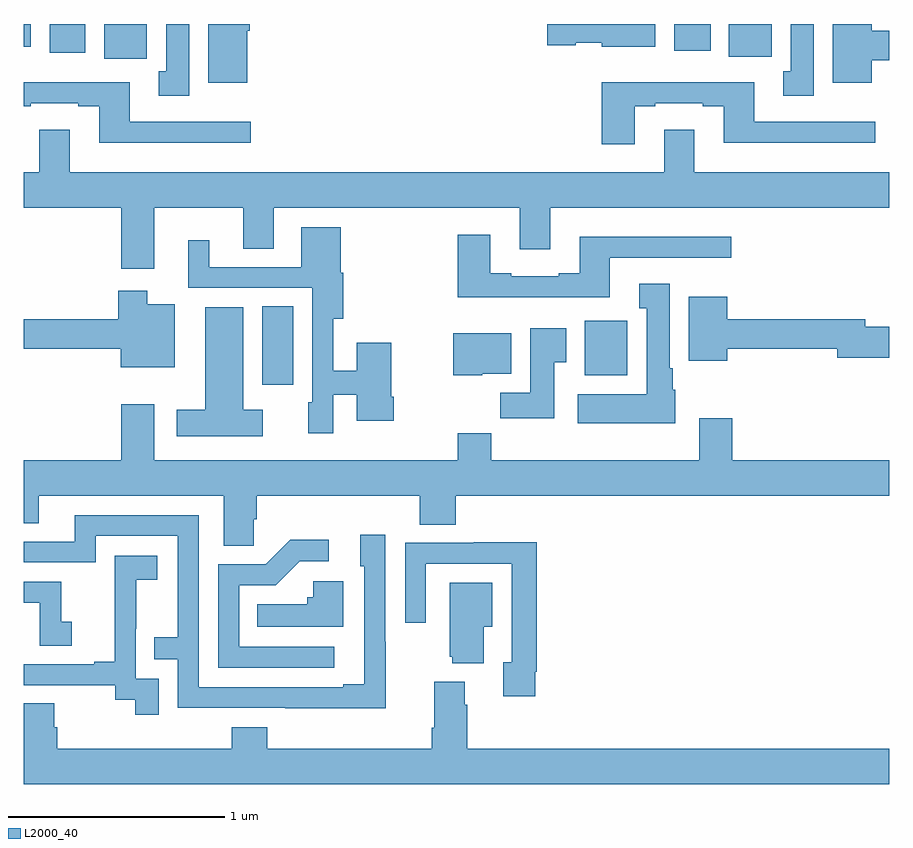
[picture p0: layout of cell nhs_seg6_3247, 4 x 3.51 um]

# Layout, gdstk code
import gdstk
lib = gdstk.Library(unit=1e-6, precision=1e-09)
def R(c, l, rs):  # rectangles x0, y0, x1, y1
    for r in rs: c.add(gdstk.rectangle(r[:2], r[2:], *l))
def P(c, l, *ps):  # polygons
    for p in ps: c.add(gdstk.Polygon(p, *l))
L2000_40 = (2000, 40)

nhs_seg6_3247 = lib.new_cell('nhs_seg6_3247')
R(nhs_seg6_3247, L2000_40, [(302.102,963.834,302.245,964.196), (303.593,963.878,303.789,964.129), (301.373,965.34,301.569,965.5), (304.259,965.348,304.456,965.5), (301.121,965.366,301.285,965.5), (304.007,965.376,304.174,965.5), (301,965.396,301.033,965.5)])
P(nhs_seg6_3247, L2000_40, [(304.918,965.332),(305,965.332),(305,965.468),(304.918,965.468),(304.918,965.5),(304.739,965.5),(304.739,965.228),(304.918,965.228)],
  [(303.919,965.5),(303.42,965.5),(303.42,965.402),(303.552,965.402),(303.552,965.414),(303.672,965.414),(303.672,965.396),(303.919,965.396)],
  [(301.765,965.5),(301.658,965.5),(301.658,965.281),(301.625,965.281),(301.625,965.169),(301.765,965.169)],
  [(304.651,965.5),(304.544,965.5),(304.544,965.282),(304.511,965.282),(304.511,965.169),(304.651,965.169)],
  [(302.032,965.468),(302.045,965.468),(302.045,965.5),(301.853,965.5),(301.853,965.228),(302.032,965.228)],
  [(302.05,965.049),(301.489,965.049),(301.489,965.23),(301,965.23),(301,965.121),(301.033,965.121),(301.033,965.133),(301.253,965.133),(301.253,965.121),(301.349,965.121),(301.349,964.952),(302.05,964.952)],
  [(303.823,965.121),(303.919,965.121),(303.919,965.133),(304.139,965.133),(304.139,965.121),(304.235,965.121),(304.235,964.952),(304.936,964.952),(304.936,965.049),(304.375,965.049),(304.375,965.23),(303.671,965.23),(303.671,964.944),(303.823,964.944)],
  [(301.603,964.652),(302.015,964.652),(302.015,964.462),(302.155,964.462),(302.155,964.652),(303.293,964.652),(303.293,964.458),(303.433,964.458),(303.433,964.652),(305,964.652),(305,964.816),(304.099,964.816),(304.099,965.011),(303.959,965.011),(303.959,964.816),(301.213,964.816),(301.213,965.011),(301.073,965.011),(301.073,964.816),(301,964.816),(301,964.652),(301.451,964.652),(301.451,964.368),(301.603,964.368)],
  [(302.43,963.786),(302.54,963.786),(302.54,963.666),(302.711,963.666),(302.711,963.778),(302.698,963.778),(302.698,964.027),(302.54,964.027),(302.54,963.897),(302.43,963.897),(302.43,964.139),(302.477,964.139),(302.477,964.35),(302.464,964.35),(302.464,964.561),(302.282,964.561),(302.282,964.377),(301.858,964.377),(301.858,964.501),(301.76,964.501),(301.76,964.281),(302.334,964.281),(302.334,963.753),(302.315,963.753),(302.315,963.609),(302.43,963.609)],
  [(303.709,964.419),(304.27,964.419),(304.27,964.516),(303.569,964.516),(303.569,964.348),(303.473,964.348),(303.473,964.335),(303.253,964.335),(303.253,964.348),(303.157,964.348),(303.157,964.525),(303.005,964.525),(303.005,964.238),(303.709,964.238)],
  [(304.012,963.81),(304,963.81),(304,963.91),(303.985,963.91),(303.985,964.3),(303.845,964.3),(303.845,964.187),(303.878,964.187),(303.878,963.79),(303.561,963.79),(303.561,963.656),(304.012,963.656)],
  [(301.699,964.204),(301.57,964.204),(301.57,964.267),(301.436,964.267),(301.436,964.136),(301,964.136),(301,964),(301.448,964),(301.448,963.914),(301.699,963.914)],
  [(304.252,964),(304.76,964),(304.76,963.958),(305,963.958),(305,964.1),(304.888,964.1),(304.888,964.136),(304.252,964.136),(304.252,964.24),(304.073,964.24),(304.073,963.944),(304.252,963.944)],
  [(302.104,963.718),(302.014,963.718),(302.014,964.192),(301.838,964.192),(301.838,963.718),(301.707,963.718),(301.707,963.596),(302.104,963.596)],
  [(303.451,963.937),(303.508,963.937),(303.508,964.093),(303.341,964.093),(303.341,963.796),(303.202,963.796),(303.202,963.678),(303.451,963.678)],
  [(303.12,963.884),(303.253,963.884),(303.253,964.072),(302.984,964.072),(302.984,963.878),(303.12,963.878)],
  [(302.064,963.211),(302.078,963.211),(302.078,963.32),(302.831,963.32),(302.831,963.187),(302.996,963.187),(302.996,963.32),(305,963.32),(305,963.484),(304.274,963.484),(304.274,963.679),(304.121,963.679),(304.121,963.484),(303.161,963.484),(303.161,963.608),(303.005,963.608),(303.005,963.484),(301.603,963.484),(301.603,963.742),(301.451,963.742),(301.451,963.484),(301,963.484),(301,963.193),(301.069,963.193),(301.069,963.32),(301.925,963.32),(301.925,963.088),(302.064,963.088)],
  [(302.673,962.645),(302.67,962.645),(302.67,963.139),(302.555,963.139),(302.555,962.994),(302.574,962.994),(302.574,962.449),(302.477,962.449),(302.477,962.436),(301.809,962.436),(301.809,963.231),(301.235,963.231),(301.235,963.108),(301,963.108),(301,963.012),(301.332,963.012),(301.332,963.135),(301.713,963.135),(301.713,962.666),(301.603,962.666),(301.603,962.565),(301.713,962.565),(301.713,962.34),(302.209,962.34),(302.209,962.339),(302.673,962.339)],
  [(302.434,962.622),(301.995,962.622),(301.995,962.907),(302.164,962.907),(302.275,963.018),(302.41,963.018),(302.41,963.116),(302.231,963.116),(302.118,963.003),(301.899,963.003),(301.899,962.526),(302.434,962.526)],
  [(303.364,962.506),(303.371,962.506),(303.371,963.104),(303.079,963.104),(303.079,963.102),(302.763,963.102),(302.763,962.733),(302.859,962.733),(302.859,963.006),(303.255,963.006),(303.255,962.55),(303.215,962.55),(303.215,962.394),(303.364,962.394)],
  [(301.623,962.475),(301.518,962.475),(301.518,962.705),(301.52,962.705),(301.52,962.933),(301.618,962.933),(301.618,963.043),(301.42,963.043),(301.42,962.837),(301.421,962.837),(301.421,962.554),(301.325,962.554),(301.325,962.541),(301,962.541),(301,962.445),(301.422,962.445),(301.422,962.377),(301.515,962.377),(301.515,962.307),(301.623,962.307)],
  [(302.476,962.926),(302.337,962.926),(302.337,962.85),(302.311,962.85),(302.311,962.818),(302.08,962.818),(302.08,962.714),(302.476,962.714)],
  [(301.222,962.737),(301.173,962.737),(301.173,962.922),(301,962.922),(301,962.826),(301.074,962.826),(301.074,962.628),(301.222,962.628)],
  [(303.127,962.714),(303.166,962.714),(303.166,962.917),(302.969,962.917),(302.969,962.577),(302.981,962.577),(302.981,962.546),(303.127,962.546)],
  [(305,962.152),(303.05,962.152),(303.05,962.354),(303.037,962.354),(303.037,962.461),(302.897,962.461),(302.897,962.248),(302.885,962.248),(302.885,962.152),(302.126,962.152),(302.126,962.251),(301.961,962.251),(301.961,962.152),(301.154,962.152),(301.154,962.25),(301.141,962.25),(301.141,962.36),(301,962.36),(301,961.988),(305,961.988)])

lib.write_gds('nhs_seg6_3247.gds')
